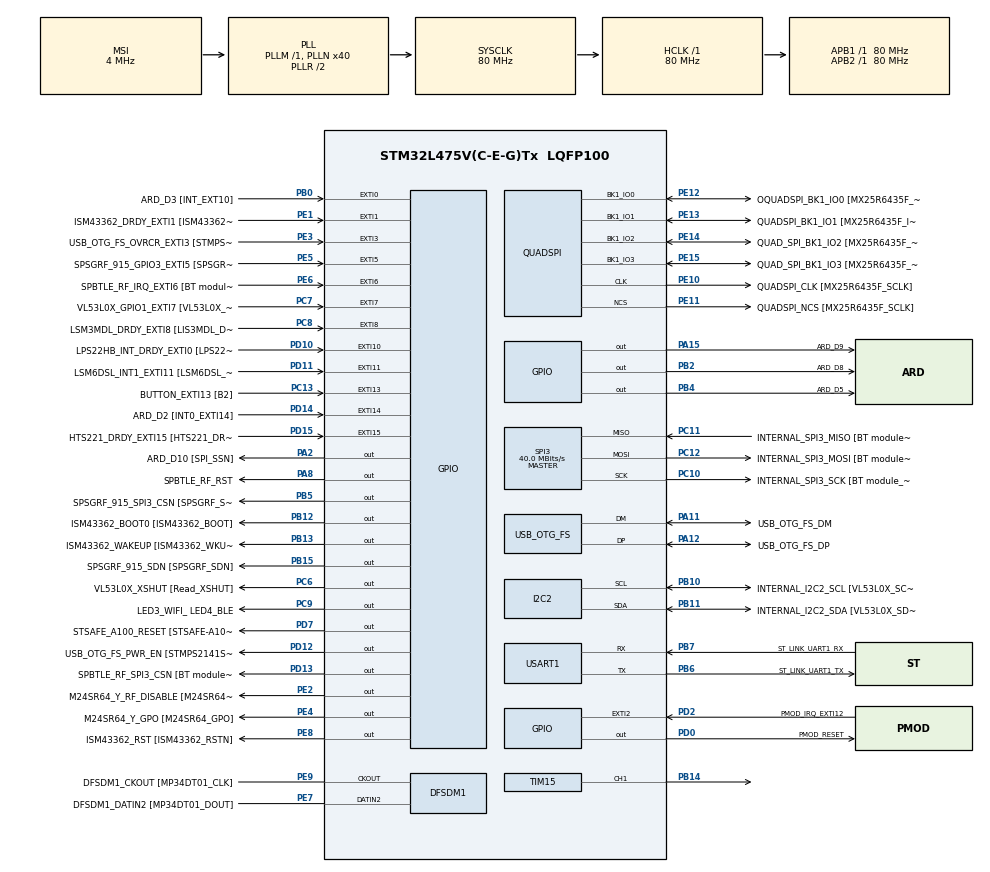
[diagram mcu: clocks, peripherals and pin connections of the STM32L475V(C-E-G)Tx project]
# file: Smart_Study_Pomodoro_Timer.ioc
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FREERTOS.Tasks01=defaultTask,24,128,StartDefaultTask,Default,NULL,Dynamic,NULL,NULL
Mcu.Family=STM32L4
Mcu.Name=STM32L475V(C-E-G)Tx
Mcu.Package=LQFP100
NVIC.EXTI15_10_IRQn=true\:5\:0\:false\:false\:true\:true\:true\:true\:true
NVIC.EXTI9_5_IRQn=true\:5\:0\:false\:false\:true\:true\:true\:true\:true
NVIC.PriorityGroup=NVIC_PRIORITYGROUP_4
NVIC.TIM6_DAC_IRQn=true\:15\:0\:false\:false\:true\:false\:false\:true\:true
NVIC.TimeBase=TIM6_DAC_IRQn
NVIC.TimeBaseIP=TIM6
PA0.GPIO_Label=ARD_D1 [UART4_TX]
PA0.Signal=UART4_TX
PA1.GPIO_Label=ARD_D0 [UART4_RX]
PA1.Signal=UART4_RX
PA10.GPIO_Label=USB_OTG_FS_ID
PA10.Signal=USB_OTG_FS_ID
PA11.GPIO_Label=USB_OTG_FS_DM
PA11.Mode=Device_Only
PA11.Signal=USB_OTG_FS_DM
PA12.GPIO_Label=USB_OTG_FS_DP
PA12.Mode=Device_Only
PA12.Signal=USB_OTG_FS_DP
PA13\ (JTMS-SWDIO).GPIO_Label=SYS_JTMS_SWDIO
PA13\ (JTMS-SWDIO).Mode=Trace_Asynchronous_SW
PA13\ (JTMS-SWDIO).Signal=SYS_JTMS-SWDIO
PA14\ (JTCK-SWCLK).GPIO_Label=SYS_JTCK_SWCLK
PA14\ (JTCK-SWCLK).Mode=Trace_Asynchronous_SW
PA14\ (JTCK-SWCLK).Signal=SYS_JTCK-SWCLK
PA15\ (JTDI).GPIO_Label=ARD_D9
PA15\ (JTDI).Signal=GPIO_Output
PA2.GPIO_Label=ARD_D10 [SPI_SSN]
PA2.Signal=GPIO_Output
PA3.GPIO_Label=ARD_D4
PA3.Signal=S_TIM2_CH4
PA4.GPIO_Label=ARD_D7
PA4.Signal=ADCx_IN9
PA5.GPIO_Label=ARD_D13 [SPI1_SCK]
PA5.Signal=SPI1_SCK
PA6.GPIO_Label=ARD_D12 [SPI1_MISO]
PA6.Signal=SPI1_MISO
PA7.GPIO_Label=ARD_D11 [SPI1_MOSI]
PA7.Signal=SPI1_MOSI
PA8.GPIO_Label=SPBTLE_RF_RST
PA8.Signal=GPIO_Output
PA9.GPIO_Label=USB_OTG_FS_VBUS [STMPS2141STR_OUT]
PA9.Signal=USB_OTG_FS_VBUS
PB0.GPIO_Label=ARD_D3 [INT_EXT10]
PB0.Signal=GPXTI0
PB1.GPIO_Label=ARD_D6 [ADC1_IN6]
PB1.Signal=ADCx_IN16
PB10.GPIO_Label=INTERNAL_I2C2_SCL [VL53L0X_SCL]
PB10.GPIO_Pu=GPIO_PULLUP
PB10.Mode=I2C
PB10.Signal=I2C2_SCL
PB11.GPIO_Label=INTERNAL_I2C2_SDA [VL53L0X_SDA]
PB11.GPIO_Pu=GPIO_PULLUP
PB11.Mode=I2C
PB11.Signal=I2C2_SDA
PB12.GPIO_Label=ISM43362_BOOT0 [ISM43362_BOOT]
PB12.Signal=GPIO_Output
PB13.GPIO_Label=ISM43362_WAKEUP [ISM43362_WKUP]
PB13.Signal=GPIO_Output
PB14.Signal=S_TIM15_CH1
PB15.GPIO_Label=SPSGRF_915_SDN [SPSGRF_SDN]
PB15.Signal=GPIO_Output
PB2.GPIO_Label=ARD_D8
PB2.Signal=GPIO_Output
PB3\ (JTDO-TRACESWO).GPIO_Label=SYS_JTD0_SWO
PB3\ (JTDO-TRACESWO).Mode=Trace_Asynchronous_SW
PB3\ (JTDO-TRACESWO).Signal=SYS_JTDO-SWO
PB4\ (NJTRST).GPIO_Label=ARD_D5
PB4\ (NJTRST).Signal=GPIO_Output
PB5.GPIO_Label=SPSGRF_915_SPI3_CSN [SPSGRF_SPI_CS]
PB5.PinState=GPIO_PIN_SET
PB5.Signal=GPIO_Output
PB6.GPIO_Label=ST_LINK_UART1_TX
PB6.Mode=Asynchronous
PB6.Signal=USART1_TX
PB7.GPIO_Label=ST_LINK_UART1_RX
PB7.Mode=Asynchronous
PB7.Signal=USART1_RX
PB8.GPIO_Label=ARD_D15 [I2C1_SCL]
PB8.Signal=I2C1_SCL
PB9.GPIO_Label=ARD_D14 [I2C1_SDA]
PB9.Signal=I2C1_SDA
PC0.GPIO_Label=ARD_A5 [ADC]
PC0.Signal=ADCx_IN1
PC1.GPIO_Label=ARD_A4 [ADC]
PC1.Signal=ADCx_IN2
PC10.GPIO_Label=INTERNAL_SPI3_SCK [BT module_SPI_SCLK] [ISM43362_SCK]
PC10.Mode=Full_Duplex_Master
PC10.Signal=SPI3_SCK
PC11.GPIO_Label=INTERNAL_SPI3_MISO [BT module_SPI_MISO] [ISM43362_MISO]
PC11.Mode=Full_Duplex_Master
PC11.Signal=SPI3_MISO
PC12.GPIO_Label=INTERNAL_SPI3_MOSI [BT module_SPI_MOSI] [ISM43362_MOSI]
PC12.Mode=Full_Duplex_Master
PC12.Signal=SPI3_MOSI
PC13.GPIO_Label=BUTTON_EXTI13 [B2]
PC13.GPIO_ModeDefaultEXTI=GPIO_MODE_IT_FALLING
PC13.Signal=GPXTI13
PC14-OSC32_IN\ (PC14).Mode=LSE-External-Oscillator
PC14-OSC32_IN\ (PC14).Signal=RCC_OSC32_IN
PC15-OSC32_OUT\ (PC15).Mode=LSE-External-Oscillator
PC15-OSC32_OUT\ (PC15).Signal=RCC_OSC32_OUT
PC2.GPIO_Label=ARD_A3 [ADC]
PC2.Signal=ADCx_IN3
PC3.GPIO_Label=ARD_A2 [ADC]
PC3.Signal=ADCx_IN4
PC4.GPIO_Label=ARD_A1 [ADC]
PC4.Signal=ADCx_IN13
PC5.GPIO_Label=ARD_A0 [ADC]
PC5.Signal=ADCx_IN14
PC6.GPIO_Label=VL53L0X_XSHUT [Read_XSHUT]
PC6.Signal=GPIO_Output
PC7.GPIO_Label=VL53L0X_GPIO1_EXTI7 [VL53L0X_GPIO1]
PC7.Signal=GPXTI7
PC8.GPIO_Label=LSM3MDL_DRDY_EXTI8 [LIS3MDL_DRDY]
PC8.Signal=GPXTI8
PC9.GPIO_Label=LED3_WIFI_ LED4_BLE
PC9.Signal=GPIO_Output
PD0.GPIO_Label=PMOD_RESET
PD0.Signal=GPIO_Output
PD1.GPIO_Label=PMOD_SPI2_SCK
PD1.Signal=SPI2_SCK
PD10.GPIO_Label=LPS22HB_INT_DRDY_EXTI0 [LPS22HB_INT_DRDY] 
PD10.Signal=GPXTI10
PD11.GPIO_Label=LSM6DSL_INT1_EXTI11 [LSM6DSL_INT1]
PD11.Signal=GPXTI11
PD12.GPIO_Label=USB_OTG_FS_PWR_EN [STMPS2141STR_EN]
PD12.Signal=GPIO_Output
PD13.GPIO_Label=SPBTLE_RF_SPI3_CSN [BT module_SPI_CS]
PD13.PinState=GPIO_PIN_SET
PD13.Signal=GPIO_Output
PD14.GPIO_Label=ARD_D2 [INT0_EXTI14]
PD14.Signal=GPXTI14
PD15.GPIO_Label=HTS221_DRDY_EXTI15 [HTS221_DRDY]
PD15.Signal=GPXTI15
PD2.GPIO_Label=PMOD_IRQ_EXTI12
PD2.Signal=GPXTI2
PD3.GPIO_Label=PMOD_UART2_CTS
PD3.Signal=USART2_CTS
PD4.GPIO_Label=PMOD_UART2_RTS
PD4.Signal=USART2_RTS
PD5.GPIO_Label=PMOD_UART2_TX
PD5.Signal=USART2_TX
PD6.GPIO_Label=PMOD_UART2_RX
PD6.Signal=USART2_RX
PD7.GPIO_Label=STSAFE_A100_RESET [STSAFE-A100_RESET]
PD7.Signal=GPIO_Output
PD8.GPIO_Label=INTERNAL_UART3_TX [ISM43362_RX]
PD8.Signal=USART3_TX
PD9.GPIO_Label=INTERNAL_UART3_RX [ISM43362_TX]
PD9.Signal=USART3_RX
PE0.Signal=S_TIM16_CH1
PE1.GPIO_Label=ISM43362_DRDY_EXTI1 [ISM43362_DATARDY]
PE1.Signal=GPXTI1
PE10.GPIO_Label=QUADSPI_CLK [MX25R6435F_SCLK]
PE10.Mode=Single Bank
PE10.Signal=QUADSPI_CLK
PE11.GPIO_Label=QUADSPI_NCS [MX25R6435F_SCLK]
PE11.Mode=Single Bank
PE11.Signal=QUADSPI_NCS
PE12.GPIO_Label=OQUADSPI_BK1_IO0 [MX25R6435F_IO0]
PE12.Mode=Single Bank
PE12.Signal=QUADSPI_BK1_IO0
PE13.GPIO_Label=QUADSPI_BK1_IO1 [MX25R6435F_IO1]
PE13.Mode=Single Bank
PE13.Signal=QUADSPI_BK1_IO1
PE14.GPIO_Label=QUAD_SPI_BK1_IO2 [MX25R6435F_IO2]
PE14.Mode=Single Bank
PE14.Signal=QUADSPI_BK1_IO2
PE15.GPIO_Label=QUAD_SPI_BK1_IO3 [MX25R6435F_IO3]
PE15.Mode=Single Bank
PE15.Signal=QUADSPI_BK1_IO3
PE2.GPIO_Label=M24SR64_Y_RF_DISABLE [M24SR64_RFDIS]
PE2.Signal=GPIO_Output
PE3.GPIO_Label=USB_OTG_FS_OVRCR_EXTI3 [STMPS2141STR_FAULT]
PE3.Signal=GPXTI3
PE4.GPIO_Label=M24SR64_Y_GPO [M24SR64_GPO]
PE4.Signal=GPIO_Output
PE5.GPIO_Label=SPSGRF_915_GPIO3_EXTI5 [SPSGRF_GPIO_3]
PE5.Signal=GPXTI5
PE6.GPIO_Label=SPBTLE_RF_IRQ_EXTI6 [BT module_SPI_IRQ]
PE6.Signal=GPXTI6
PE7.GPIO_Label=DFSDM1_DATIN2 [MP34DT01_DOUT]
PE7.Signal=S_DATAIN2DFSDM1
PE8.GPIO_Label=ISM43362_RST [ISM43362_RSTN]
PE8.Signal=GPIO_Output
PE9.GPIO_Label=DFSDM1_CKOUT [MP34DT01_CLK]
PE9.Signal=S_CKOUTDFSDM1
ProjectManager.HeapSize=0x200
ProjectManager.StackSize=0x400
ProjectManager.TargetToolchain=STM32CubeIDE
QUADSPI.ClockPrescaler=2
QUADSPI.FifoThreshold=4
QUADSPI.FlashSize=23
QUADSPI.SampleShifting=QSPI_SAMPLE_SHIFTING_HALFCYCLE
RCC.ADCFreq_Value=48000000
RCC.AHBFreq_Value=80000000
RCC.APB1Freq_Value=80000000
RCC.APB1TimFreq_Value=80000000
RCC.APB2Freq_Value=80000000
RCC.APB2TimFreq_Value=80000000
RCC.CortexFreq_Value=80000000
RCC.HCLKFreq_Value=80000000
RCC.HSE_VALUE=8000000
RCC.HSI_VALUE=16000000
RCC.MSI_VALUE=4000000
RCC.PLLN=40
RCC.PLLSAI1N=24
RCC.SYSCLKFreq_VALUE=80000000
RCC.SYSCLKSource=RCC_SYSCLKSOURCE_PLLCLK
RCC.USBFreq_Value=48000000
RCC.VCOOutputFreq_Value=160000000
SH.ADCx_IN1.0=ADC1_IN1
SH.ADCx_IN13.0=ADC1_IN13
SH.ADCx_IN14.0=ADC1_IN14
SH.ADCx_IN16.0=ADC1_IN16
SH.ADCx_IN2.0=ADC1_IN2
SH.ADCx_IN3.0=ADC1_IN3
SH.ADCx_IN4.0=ADC1_IN4
SH.ADCx_IN9.0=ADC1_IN9
SH.S_CKOUTDFSDM1.0=DFSDM1_CKOUT,CKOUT
SH.S_CKOUTDFSDM1.1=DFSDM1_CKOUT,PDM_SPI_Input_from_ch12_and_Internal_Clock
SH.S_DATAIN2DFSDM1.0=DFSDM1_DATIN2,PDM_SPI_Input_from_ch12_and_Internal_Clock
SH.S_TIM15_CH1.0=TIM15_CH1,PWM Generation1 CH1
SH.S_TIM16_CH1.0=TIM16_CH1
SH.S_TIM2_CH4.0=TIM2_CH4
SPI3.CalculateBaudRate=40.0 MBits/s
SPI3.Direction=SPI_DIRECTION_2LINES
SPI3.Mode=SPI_MODE_MASTER
SPI3.VirtualType=VM_MASTER
TIM15.Channel-PWM\ Generation1\ CH1=TIM_CHANNEL_1
USART1.VirtualMode-Asynchronous=VM_ASYNC
USB_OTG_FS.VirtualMode=Device_Only
VP_FREERTOS_VS_CMSIS_V2.Mode=CMSIS_V2
VP_SYS_VS_tim6.Mode=TIM6
board=B-L475E-IOT01A1

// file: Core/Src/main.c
/* USER CODE BEGIN Header */
/**
  ******************************************************************************
  * @file           : main.c
  * @brief          : Main program body
  ******************************************************************************
  * @attention
  *
  * Copyright (c) 2026 STMicroelectronics.
  * All rights reserved.
  *
  * This software is licensed under terms that can be found in the LICENSE file
  * in the root directory of this software component.
  * If no LICENSE file comes with this software, it is provided AS-IS.
  *
  ******************************************************************************
  */
/* USER CODE END Header */
#include "main.h"
//#include "cmsis_os.h"

/* USER CODE BEGIN Includes */
#include "FreeRTOS.h"
#include "task.h"
#include "timers.h"
#include "queue.h"
#include "semphr.h"
#include "event_groups.h"
#include <stdio.h>
#include <string.h>

#include "wifi.h"//leaadd
#include "es_wifi_io.h"
/* USER CODE END Includes */

/* USER CODE BEGIN PTD */
typedef enum{
	IDLE, STUDYING, PAUSE, BREAK, FOCUS_REMINDER
} StateMachineState;

typedef enum { //leaadd
    EVT_PHONE_PLACED,     // sensor: phone is on the board
    EVT_PHONE_REMOVED,    // sensor: phone was picked up
    EVT_CHEAT_DETECTED,   // sensor: non-phone object on the board
 //   EVT_CMD_START,        // phone command
 //   EVT_CMD_PAUSE,
 //   EVT_CMD_RESUME,
  //  EVT_CMD_RESET,
    EVT_CMD_SET_TIME      // phone command: set study/break time (for later)
} EventType;

typedef struct {//leaadd
    EventType type;
    uint16_t  value1;     // e.g. study minutes
    uint16_t  value2;     // e.g. break minutes
} Event;

/* USER CODE END PTD */

/* USER CODE BEGIN PD */
#define SHORT_PRESS_FLAG  (1UL << 1)
#define LONG_PRESS_FLAG   (1UL << 2)
#define LONG_PRESS_MS  1000

//#define STUDY_TIME (0.5 * 60 * 1000)
#define DEFAULT_STUDY_TIME_MS  (30 * 1000)   // default 30 s for testing
#define STUDY_TIMER_FLAG (1UL << 3)

//#define BREAK_TIME (0.5 * 60 * 1000)
#define DEFAULT_BREAK_TIME_MS  (30 * 1000)   // default 30 s for testing
#define BREAK_TIMER_FLAG (1UL << 4)

#define PWM_MAX_DUTY       65535
#define PWM_UPDATE_MS      100
#define BLINK_INTERVAL_MS  100

#define PHONE_PLACED_FLAG   (1UL << 5)//leaadd
#define PHONE_REMOVED_FLAG  (1UL << 6)
#define CHEAT_FLAG          (1UL << 7)
#define EVENT_QUEUE_LENGTH  10
/* Update SSID and PASSWORD with own Access point settings */
#define WIFI_SSID     "iPhone"
#define WIFI_PASSWORD "handsome"

#define REMOTE_PORT          8002
#define WIFI_WRITE_TIMEOUT   10000   // ms
#define WIFI_READ_TIMEOUT    1000    // ms, shorter than lab 5 (10 s)
/* USER CODE END PD */

DFSDM_Channel_HandleTypeDef hdfsdm1_channel1;

I2C_HandleTypeDef hi2c2;

QSPI_HandleTypeDef hqspi;

SPI_HandleTypeDef hspi3;

TIM_HandleTypeDef htim15;

UART_HandleTypeDef huart1;

PCD_HandleTypeDef hpcd_USB_OTG_FS;

/* Definitions for defaultTask */
//osThreadId_t defaultTaskHandle;
//const osThreadAttr_t defaultTask_attributes = {
//  .name = "defaultTask",
//  .stack_size = 128 * 4,
//  .priority = (osPriority_t) osPriorityNormal,
//};
/* USER CODE BEGIN PV */
TaskHandle_t xButtonTaskHandle = NULL;
TaskHandle_t xStateTaskHandle = NULL;
TimerHandle_t xStudyTimer = NULL;
TimerHandle_t xBreakTimer = NULL;
SemaphoreHandle_t xStatusMutex = NULL;
TaskHandle_t xWiFiTaskHandle = NULL;//leaadd
// shared status variables
StateMachineState currentState = IDLE;
TickType_t remainingStudyTime = 0;

QueueHandle_t xEventQueue = NULL; //leaadd
uint32_t studyTimeMs = DEFAULT_STUDY_TIME_MS;   // can be changed by SET_TIME
uint32_t breakTimeMs = DEFAULT_BREAK_TIME_MS;   // can be changed by SET_TIME
uint8_t RemoteIP[] = {172, 20, 10, 1};   // phone hotspot IP
int32_t wifiSocket = -1;                 // -1 = not connected yet
/* USER CODE END PV */

void SystemClock_Config(void);
static void MX_GPIO_Init(void);
static void MX_DFSDM1_Init(void);
static void MX_I2C2_Init(void);
static void MX_QUADSPI_Init(void);
static void MX_SPI3_Init(void);
static void MX_USART1_UART_Init(void);
static void MX_USB_OTG_FS_PCD_Init(void);
static void MX_TIM15_Init(void);
//void StartDefaultTask(void *argument);

/* USER CODE BEGIN PFP */
void ButtonTask(void *pvParameters);
void StateMachineTask(void *pvParameters);
void UpdateLED(StateMachineState state);
void StudyTimerCallback(TimerHandle_t xTimer);
void BreakTimerCallback(TimerHandle_t xTimer);
//void ProcessEvent(uint32_t event);//leaadd
uint32_t EventToFlag(Event *evt);//leaadd
void HandleSetTime(Event *evt);//leaadd
void WiFiTask(void *pvParameters);//leaadd
void HandlePhoneCommand(char *cmd, char *reply, size_t replyLen);//leaadd
const char *StateName(StateMachineState s);//leaadd
/* USER CODE END PFP */

/* USER CODE BEGIN 0 */
int _write(int file, char *ptr, int len) {
	for (int i = 0; i < len; i++) {
		ITM_SendChar((*ptr++));
	}
	return len;
}
/* USER CODE END 0 */

int main(void)
{

  /* MCU Configuration--------------------------------------------------------*/

  /* Reset of all peripherals, Initializes the Flash interface and the Systick. */
  HAL_Init();

  /* Configure the system clock */
  SystemClock_Config();

  /* Initialize all configured peripherals */
  MX_GPIO_Init();
  MX_DFSDM1_Init();
  MX_I2C2_Init();
  MX_QUADSPI_Init();
  MX_SPI3_Init();
  MX_USART1_UART_Init();
  MX_USB_OTG_FS_PCD_Init();
  MX_TIM15_Init();
  /* USER CODE BEGIN 2 */
  HAL_TIM_PWM_Start(&htim15, TIM_CHANNEL_1);
  __HAL_TIM_SET_COMPARE(&htim15, TIM_CHANNEL_1, 0);
  /* TEST: connect to Wi-Fi before starting the scheduler */
  //leaadd
  /*
  printf("Wi-Fi init...\r\n");
  if (WIFI_Init() == WIFI_STATUS_OK) {
      printf("Wi-Fi module initialized\r\n");
      if (WIFI_Connect(WIFI_SSID, WIFI_PASSWORD, WIFI_ECN_WPA2_PSK) == WIFI_STATUS_OK) {
          uint8_t ip[4];
          WIFI_GetIP_Address(ip, sizeof(ip));
          printf("Wi-Fi connected, IP: %d.%d.%d.%d\r\n", ip[0], ip[1], ip[2], ip[3]);
      } else {
          printf("Wi-Fi connect FAILED\r\n");
      }
  } else {
      printf("Wi-Fi init FAILED\r\n");
  }
  */
  /* USER CODE END 2 */

  /* Init scheduler */
//  osKernelInitialize();

  /* USER CODE BEGIN RTOS_MUTEX */
  xStatusMutex = xSemaphoreCreateMutex();
  if (xStatusMutex == NULL)
	  ; //add code to handle error
  /* USER CODE END RTOS_MUTEX */

  /* USER CODE BEGIN RTOS_TIMERS */
  xStudyTimer = xTimerCreate("Study Timer", pdMS_TO_TICKS(studyTimeMs), pdFALSE, NULL, StudyTimerCallback);
  xBreakTimer = xTimerCreate("Break Timer", pdMS_TO_TICKS(breakTimeMs), pdFALSE, NULL, BreakTimerCallback);
  /* USER CODE END RTOS_TIMERS */

  /* USER CODE BEGIN RTOS_QUEUES */
  xEventQueue = xQueueCreate(EVENT_QUEUE_LENGTH, sizeof(Event));//leaadd
  if (xEventQueue == NULL)
      ; // add code to handle error
  /* USER CODE END RTOS_QUEUES */

  /* Create the thread(s) */
  /* creation of defaultTask */
//  defaultTaskHandle = osThreadNew(StartDefaultTask, NULL, &defaultTask_attributes);

  /* USER CODE BEGIN RTOS_THREADS */
  BaseType_t xReturned = xTaskCreate(ButtonTask, "Button Task New", 256,
  NULL, 1, &xButtonTaskHandle);
  if (xReturned != pdPASS)
  ; //add code to handle error

  xReturned = xTaskCreate(StateMachineTask, "State Machine Task", 256,
  NULL, 1, &xStateTaskHandle);
  if (xReturned != pdPASS)
  ; //add code to handle error
  xReturned = xTaskCreate(WiFiTask, "WiFi Task", 512, NULL, 1, &xWiFiTaskHandle);
  if (xReturned != pdPASS)
	  printf("WiFi task create FAILED, free heap = %u bytes\r\n", (unsigned)xPortGetFreeHeapSize());
      ; // add code to handle error

  vTaskStartScheduler(); // start scheduler
  /* USER CODE END RTOS_THREADS */

  /* Start scheduler */
//  osKernelStart();

  /* We should never get here as control is now taken by the scheduler */

  /* Infinite loop */
  while (1)
  {

  }
}

void SystemClock_Config(void)
{
  RCC_OscInitTypeDef RCC_OscInitStruct = {0};
  RCC_ClkInitTypeDef RCC_ClkInitStruct = {0};

  /** Configure the main internal regulator output voltage
  */
  if (HAL_PWREx_ControlVoltageScaling(PWR_REGULATOR_VOLTAGE_SCALE1) != HAL_OK)
  {
    Error_Handler();
  }

  /** Configure LSE Drive Capability
  */
  HAL_PWR_EnableBkUpAccess();
  __HAL_RCC_LSEDRIVE_CONFIG(RCC_LSEDRIVE_LOW);

  /** Initializes the RCC Oscillators according to the specified parameters
  * in the RCC_OscInitTypeDef structure.
  */
  RCC_OscInitStruct.OscillatorType = RCC_OSCILLATORTYPE_LSE|RCC_OSCILLATORTYPE_MSI;
  RCC_OscInitStruct.LSEState = RCC_LSE_ON;
  RCC_OscInitStruct.MSIState = RCC_MSI_ON;
  RCC_OscInitStruct.MSICalibrationValue = 0;
  RCC_OscInitStruct.MSIClockRange = RCC_MSIRANGE_6;
  RCC_OscInitStruct.PLL.PLLState = RCC_PLL_ON;
  RCC_OscInitStruct.PLL.PLLSource = RCC_PLLSOURCE_MSI;
  RCC_OscInitStruct.PLL.PLLM = 1;
  RCC_OscInitStruct.PLL.PLLN = 40;
  RCC_OscInitStruct.PLL.PLLP = RCC_PLLP_DIV7;
  RCC_OscInitStruct.PLL.PLLQ = RCC_PLLQ_DIV2;
  RCC_OscInitStruct.PLL.PLLR = RCC_PLLR_DIV2;
  if (HAL_RCC_OscConfig(&RCC_OscInitStruct) != HAL_OK)
  {
    Error_Handler();
  }

  /** Initializes the CPU, AHB and APB buses clocks
  */
  RCC_ClkInitStruct.ClockType = RCC_CLOCKTYPE_HCLK|RCC_CLOCKTYPE_SYSCLK
                              |RCC_CLOCKTYPE_PCLK1|RCC_CLOCKTYPE_PCLK2;
  RCC_ClkInitStruct.SYSCLKSource = RCC_SYSCLKSOURCE_PLLCLK;
  RCC_ClkInitStruct.AHBCLKDivider = RCC_SYSCLK_DIV1;
  RCC_ClkInitStruct.APB1CLKDivider = RCC_HCLK_DIV1;
  RCC_ClkInitStruct.APB2CLKDivider = RCC_HCLK_DIV1;

  if (HAL_RCC_ClockConfig(&RCC_ClkInitStruct, FLASH_LATENCY_4) != HAL_OK)
  {
    Error_Handler();
  }

  /** Enable MSI Auto calibration
  */
  HAL_RCCEx_EnableMSIPLLMode();
}

static void MX_DFSDM1_Init(void)
{

  hdfsdm1_channel1.Instance = DFSDM1_Channel1;
  hdfsdm1_channel1.Init.OutputClock.Activation = ENABLE;
  hdfsdm1_channel1.Init.OutputClock.Selection = DFSDM_CHANNEL_OUTPUT_CLOCK_SYSTEM;
  hdfsdm1_channel1.Init.OutputClock.Divider = 2;
  hdfsdm1_channel1.Init.Input.Multiplexer = DFSDM_CHANNEL_EXTERNAL_INPUTS;
  hdfsdm1_channel1.Init.Input.DataPacking = DFSDM_CHANNEL_STANDARD_MODE;
  hdfsdm1_channel1.Init.Input.Pins = DFSDM_CHANNEL_FOLLOWING_CHANNEL_PINS;
  hdfsdm1_channel1.Init.SerialInterface.Type = DFSDM_CHANNEL_SPI_RISING;
  hdfsdm1_channel1.Init.SerialInterface.SpiClock = DFSDM_CHANNEL_SPI_CLOCK_INTERNAL;
  hdfsdm1_channel1.Init.Awd.FilterOrder = DFSDM_CHANNEL_FASTSINC_ORDER;
  hdfsdm1_channel1.Init.Awd.Oversampling = 1;
  hdfsdm1_channel1.Init.Offset = 0;
  hdfsdm1_channel1.Init.RightBitShift = 0x00;
  if (HAL_DFSDM_ChannelInit(&hdfsdm1_channel1) != HAL_OK)
  {
    Error_Handler();
  }

}

static void MX_I2C2_Init(void)
{

  hi2c2.Instance = I2C2;
  hi2c2.Init.Timing = 0x00000E14;
  hi2c2.Init.OwnAddress1 = 0;
  hi2c2.Init.AddressingMode = I2C_ADDRESSINGMODE_7BIT;
  hi2c2.Init.DualAddressMode = I2C_DUALADDRESS_DISABLE;
  hi2c2.Init.OwnAddress2 = 0;
  hi2c2.Init.OwnAddress2Masks = I2C_OA2_NOMASK;
  hi2c2.Init.GeneralCallMode = I2C_GENERALCALL_DISABLE;
  hi2c2.Init.NoStretchMode = I2C_NOSTRETCH_DISABLE;
  if (HAL_I2C_Init(&hi2c2) != HAL_OK)
  {
    Error_Handler();
  }

  /** Configure Analogue filter
  */
  if (HAL_I2CEx_ConfigAnalogFilter(&hi2c2, I2C_ANALOGFILTER_ENABLE) != HAL_OK)
  {
    Error_Handler();
  }

  /** Configure Digital filter
  */
  if (HAL_I2CEx_ConfigDigitalFilter(&hi2c2, 0) != HAL_OK)
  {
    Error_Handler();
  }

}

static void MX_QUADSPI_Init(void)
{

  /* QUADSPI parameter configuration*/
  hqspi.Instance = QUADSPI;
  hqspi.Init.ClockPrescaler = 2;
  hqspi.Init.FifoThreshold = 4;
  hqspi.Init.SampleShifting = QSPI_SAMPLE_SHIFTING_HALFCYCLE;
  hqspi.Init.FlashSize = 23;
  hqspi.Init.ChipSelectHighTime = QSPI_CS_HIGH_TIME_1_CYCLE;
  hqspi.Init.ClockMode = QSPI_CLOCK_MODE_0;
  if (HAL_QSPI_Init(&hqspi) != HAL_OK)
  {
    Error_Handler();
  }

}

static void MX_SPI3_Init(void)
{

  /* SPI3 parameter configuration*/
  hspi3.Instance = SPI3;
  hspi3.Init.Mode = SPI_MODE_MASTER;
  hspi3.Init.Direction = SPI_DIRECTION_2LINES;
  hspi3.Init.DataSize = SPI_DATASIZE_4BIT;
  hspi3.Init.CLKPolarity = SPI_POLARITY_LOW;
  hspi3.Init.CLKPhase = SPI_PHASE_1EDGE;
  hspi3.Init.NSS = SPI_NSS_SOFT;
  hspi3.Init.BaudRatePrescaler = SPI_BAUDRATEPRESCALER_2;
  hspi3.Init.FirstBit = SPI_FIRSTBIT_MSB;
  hspi3.Init.TIMode = SPI_TIMODE_DISABLE;
  hspi3.Init.CRCCalculation = SPI_CRCCALCULATION_DISABLE;
  hspi3.Init.CRCPolynomial = 7;
  hspi3.Init.CRCLength = SPI_CRC_LENGTH_DATASIZE;
  hspi3.Init.NSSPMode = SPI_NSS_PULSE_ENABLE;
  if (HAL_SPI_Init(&hspi3) != HAL_OK)
  {
    Error_Handler();
  }

}

static void MX_TIM15_Init(void)
{

  TIM_MasterConfigTypeDef sMasterConfig = {0};
  TIM_OC_InitTypeDef sConfigOC = {0};
  TIM_BreakDeadTimeConfigTypeDef sBreakDeadTimeConfig = {0};

  htim15.Instance = TIM15;
  htim15.Init.Prescaler = 0;
  htim15.Init.CounterMode = TIM_COUNTERMODE_UP;
  htim15.Init.Period = 65535;
  htim15.Init.ClockDivision = TIM_CLOCKDIVISION_DIV1;
  htim15.Init.RepetitionCounter = 0;
  htim15.Init.AutoReloadPreload = TIM_AUTORELOAD_PRELOAD_DISABLE;
  if (HAL_TIM_PWM_Init(&htim15) != HAL_OK)
  {
    Error_Handler();
  }
  sMasterConfig.MasterOutputTrigger = TIM_TRGO_RESET;
  sMasterConfig.MasterSlaveMode = TIM_MASTERSLAVEMODE_DISABLE;
  if (HAL_TIMEx_MasterConfigSynchronization(&htim15, &sMasterConfig) != HAL_OK)
  {
    Error_Handler();
  }
  sConfigOC.OCMode = TIM_OCMODE_PWM1;
  sConfigOC.Pulse = 0;
  sConfigOC.OCPolarity = TIM_OCPOLARITY_HIGH;
  sConfigOC.OCNPolarity = TIM_OCNPOLARITY_HIGH;
  sConfigOC.OCFastMode = TIM_OCFAST_DISABLE;
  sConfigOC.OCIdleState = TIM_OCIDLESTATE_RESET;
  sConfigOC.OCNIdleState = TIM_OCNIDLESTATE_RESET;
  if (HAL_TIM_PWM_ConfigChannel(&htim15, &sConfigOC, TIM_CHANNEL_1) != HAL_OK)
  {
    Error_Handler();
  }
  sBreakDeadTimeConfig.OffStateRunMode = TIM_OSSR_DISABLE;
  sBreakDeadTimeConfig.OffStateIDLEMode = TIM_OSSI_DISABLE;
  sBreakDeadTimeConfig.LockLevel = TIM_LOCKLEVEL_OFF;
  sBreakDeadTimeConfig.DeadTime = 0;
  sBreakDeadTimeConfig.BreakState = TIM_BREAK_DISABLE;
  sBreakDeadTimeConfig.BreakPolarity = TIM_BREAKPOLARITY_HIGH;
  sBreakDeadTimeConfig.AutomaticOutput = TIM_AUTOMATICOUTPUT_DISABLE;
  if (HAL_TIMEx_ConfigBreakDeadTime(&htim15, &sBreakDeadTimeConfig) != HAL_OK)
  {
    Error_Handler();
  }
  HAL_TIM_MspPostInit(&htim15);

}

static void MX_USART1_UART_Init(void)
{

  huart1.Instance = USART1;
  huart1.Init.BaudRate = 115200;
  huart1.Init.WordLength = UART_WORDLENGTH_8B;
  huart1.Init.StopBits = UART_STOPBITS_1;
  huart1.Init.Parity = UART_PARITY_NONE;
  huart1.Init.Mode = UART_MODE_TX_RX;
  huart1.Init.HwFlowCtl = UART_HWCONTROL_NONE;
  huart1.Init.OverSampling = UART_OVERSAMPLING_16;
  huart1.Init.OneBitSampling = UART_ONE_BIT_SAMPLE_DISABLE;
  huart1.AdvancedInit.AdvFeatureInit = UART_ADVFEATURE_NO_INIT;
  if (HAL_UART_Init(&huart1) != HAL_OK)
  {
    Error_Handler();
  }

}

static void MX_USB_OTG_FS_PCD_Init(void)
{

  hpcd_USB_OTG_FS.Instance = USB_OTG_FS;
  hpcd_USB_OTG_FS.Init.dev_endpoints = 6;
  hpcd_USB_OTG_FS.Init.speed = PCD_SPEED_FULL;
  hpcd_USB_OTG_FS.Init.phy_itface = PCD_PHY_EMBEDDED;
  hpcd_USB_OTG_FS.Init.Sof_enable = DISABLE;
  hpcd_USB_OTG_FS.Init.low_power_enable = DISABLE;
  hpcd_USB_OTG_FS.Init.lpm_enable = DISABLE;
  hpcd_USB_OTG_FS.Init.battery_charging_enable = DISABLE;
  hpcd_USB_OTG_FS.Init.use_dedicated_ep1 = DISABLE;
  hpcd_USB_OTG_FS.Init.vbus_sensing_enable = DISABLE;
  if (HAL_PCD_Init(&hpcd_USB_OTG_FS) != HAL_OK)
  {
    Error_Handler();
  }

}

static void MX_GPIO_Init(void)
{
  GPIO_InitTypeDef GPIO_InitStruct = {0};

  /* GPIO Ports Clock Enable */
  __HAL_RCC_GPIOE_CLK_ENABLE();
  __HAL_RCC_GPIOC_CLK_ENABLE();
  __HAL_RCC_GPIOA_CLK_ENABLE();
  __HAL_RCC_GPIOB_CLK_ENABLE();
  __HAL_RCC_GPIOD_CLK_ENABLE();

  /*Configure GPIO pin Output Level */
  HAL_GPIO_WritePin(GPIOE, M24SR64_Y_RF_DISABLE_Pin|M24SR64_Y_GPO_Pin|ISM43362_RST_Pin, GPIO_PIN_RESET);

  /*Configure GPIO pin Output Level */
  HAL_GPIO_WritePin(GPIOA, ARD_D10_Pin|SPBTLE_RF_RST_Pin|ARD_D9_Pin, GPIO_PIN_RESET);

  /*Configure GPIO pin Output Level */
  HAL_GPIO_WritePin(GPIOB, ARD_D8_Pin|ISM43362_BOOT0_Pin|ISM43362_WAKEUP_Pin|SPSGRF_915_SDN_Pin
                          |ARD_D5_Pin, GPIO_PIN_RESET);

  /*Configure GPIO pin Output Level */
  HAL_GPIO_WritePin(GPIOD, USB_OTG_FS_PWR_EN_Pin|PMOD_RESET_Pin|STSAFE_A100_RESET_Pin, GPIO_PIN_RESET);

  /*Configure GPIO pin Output Level */
  HAL_GPIO_WritePin(SPBTLE_RF_SPI3_CSN_GPIO_Port, SPBTLE_RF_SPI3_CSN_Pin, GPIO_PIN_SET);

  /*Configure GPIO pin Output Level */
  HAL_GPIO_WritePin(GPIOC, VL53L0X_XSHUT_Pin|LED3_WIFI__LED4_BLE_Pin, GPIO_PIN_RESET);

  /*Configure GPIO pin Output Level */
  HAL_GPIO_WritePin(SPSGRF_915_SPI3_CSN_GPIO_Port, SPSGRF_915_SPI3_CSN_Pin, GPIO_PIN_SET);

  /*Configure GPIO pins : M24SR64_Y_RF_DISABLE_Pin M24SR64_Y_GPO_Pin ISM43362_RST_Pin */
  GPIO_InitStruct.Pin = M24SR64_Y_RF_DISABLE_Pin|M24SR64_Y_GPO_Pin|ISM43362_RST_Pin;
  GPIO_InitStruct.Mode = GPIO_MODE_OUTPUT_PP;
  GPIO_InitStruct.Pull = GPIO_NOPULL;
  GPIO_InitStruct.Speed = GPIO_SPEED_FREQ_LOW;
  HAL_GPIO_Init(GPIOE, &GPIO_InitStruct);

  /*Configure GPIO pins : USB_OTG_FS_OVRCR_EXTI3_Pin SPSGRF_915_GPIO3_EXTI5_Pin SPBTLE_RF_IRQ_EXTI6_Pin ISM43362_DRDY_EXTI1_Pin */
  GPIO_InitStruct.Pin = USB_OTG_FS_OVRCR_EXTI3_Pin|SPSGRF_915_GPIO3_EXTI5_Pin|SPBTLE_RF_IRQ_EXTI6_Pin|ISM43362_DRDY_EXTI1_Pin;
  GPIO_InitStruct.Mode = GPIO_MODE_IT_RISING;
  GPIO_InitStruct.Pull = GPIO_NOPULL;
  HAL_GPIO_Init(GPIOE, &GPIO_InitStruct);

  /*Configure GPIO pin : BUTTON_EXTI13_Pin */
  GPIO_InitStruct.Pin = BUTTON_EXTI13_Pin;
  GPIO_InitStruct.Mode = GPIO_MODE_IT_FALLING;
  GPIO_InitStruct.Pull = GPIO_NOPULL;
  HAL_GPIO_Init(BUTTON_EXTI13_GPIO_Port, &GPIO_InitStruct);

  /*Configure GPIO pins : ARD_A5_Pin ARD_A4_Pin ARD_A3_Pin ARD_A2_Pin
                           ARD_A1_Pin ARD_A0_Pin */
  GPIO_InitStruct.Pin = ARD_A5_Pin|ARD_A4_Pin|ARD_A3_Pin|ARD_A2_Pin
                          |ARD_A1_Pin|ARD_A0_Pin;
  GPIO_InitStruct.Mode = GPIO_MODE_ANALOG_ADC_CONTROL;
  GPIO_InitStruct.Pull = GPIO_NOPULL;
  HAL_GPIO_Init(GPIOC, &GPIO_InitStruct);

  /*Configure GPIO pins : ARD_D1_Pin ARD_D0_Pin */
  GPIO_InitStruct.Pin = ARD_D1_Pin|ARD_D0_Pin;
  GPIO_InitStruct.Mode = GPIO_MODE_AF_PP;
  GPIO_InitStruct.Pull = GPIO_NOPULL;
  GPIO_InitStruct.Speed = GPIO_SPEED_FREQ_VERY_HIGH;
  GPIO_InitStruct.Alternate = GPIO_AF8_UART4;
  HAL_GPIO_Init(GPIOA, &GPIO_InitStruct);

  /*Configure GPIO pins : ARD_D10_Pin SPBTLE_RF_RST_Pin ARD_D9_Pin */
  GPIO_InitStruct.Pin = ARD_D10_Pin|SPBTLE_RF_RST_Pin|ARD_D9_Pin;
  GPIO_InitStruct.Mode = GPIO_MODE_OUTPUT_PP;
  GPIO_InitStruct.Pull = GPIO_NOPULL;
  GPIO_InitStruct.Speed = GPIO_SPEED_FREQ_LOW;
  HAL_GPIO_Init(GPIOA, &GPIO_InitStruct);

  /*Configure GPIO pin : ARD_D4_Pin */
  GPIO_InitStruct.Pin = ARD_D4_Pin;
  GPIO_InitStruct.Mode = GPIO_MODE_AF_PP;
  GPIO_InitStruct.Pull = GPIO_NOPULL;
  GPIO_InitStruct.Speed = GPIO_SPEED_FREQ_LOW;
  GPIO_InitStruct.Alternate = GPIO_AF1_TIM2;
  HAL_GPIO_Init(ARD_D4_GPIO_Port, &GPIO_InitStruct);

  /*Configure GPIO pin : ARD_D7_Pin */
  GPIO_InitStruct.Pin = ARD_D7_Pin;
  GPIO_InitStruct.Mode = GPIO_MODE_ANALOG_ADC_CONTROL;
  GPIO_InitStruct.Pull = GPIO_NOPULL;
  HAL_GPIO_Init(ARD_D7_GPIO_Port, &GPIO_InitStruct);

  /*Configure GPIO pins : ARD_D13_Pin ARD_D12_Pin ARD_D11_Pin */
  GPIO_InitStruct.Pin = ARD_D13_Pin|ARD_D12_Pin|ARD_D11_Pin;
  GPIO_InitStruct.Mode = GPIO_MODE_AF_PP;
  GPIO_InitStruct.Pull = GPIO_NOPULL;
  GPIO_InitStruct.Speed = GPIO_SPEED_FREQ_VERY_HIGH;
  GPIO_InitStruct.Alternate = GPIO_AF5_SPI1;
  HAL_GPIO_Init(GPIOA, &GPIO_InitStruct);

  /*Configure GPIO pin : ARD_D3_Pin */
  GPIO_InitStruct.Pin = ARD_D3_Pin;
  GPIO_InitStruct.Mode = GPIO_MODE_IT_RISING;
  GPIO_InitStruct.Pull = GPIO_NOPULL;
  HAL_GPIO_Init(ARD_D3_GPIO_Port, &GPIO_InitStruct);

  /*Configure GPIO pin : ARD_D6_Pin */
  GPIO_InitStruct.Pin = ARD_D6_Pin;
  GPIO_InitStruct.Mode = GPIO_MODE_ANALOG_ADC_CONTROL;
  GPIO_InitStruct.Pull = GPIO_NOPULL;
  HAL_GPIO_Init(ARD_D6_GPIO_Port, &GPIO_InitStruct);

  /*Configure GPIO pins : ARD_D8_Pin ISM43362_BOOT0_Pin ISM43362_WAKEUP_Pin SPSGRF_915_SDN_Pin
                           ARD_D5_Pin SPSGRF_915_SPI3_CSN_Pin */
  GPIO_InitStruct.Pin = ARD_D8_Pin|ISM43362_BOOT0_Pin|ISM43362_WAKEUP_Pin|SPSGRF_915_SDN_Pin
                          |ARD_D5_Pin|SPSGRF_915_SPI3_CSN_Pin;
  GPIO_InitStruct.Mode = GPIO_MODE_OUTPUT_PP;
  GPIO_InitStruct.Pull = GPIO_NOPULL;
  GPIO_InitStruct.Speed = GPIO_SPEED_FREQ_LOW;
  HAL_GPIO_Init(GPIOB, &GPIO_InitStruct);

  /*Configure GPIO pins : INTERNAL_UART3_TX_Pin INTERNAL_UART3_RX_Pin */
  GPIO_InitStruct.Pin = INTERNAL_UART3_TX_Pin|INTERNAL_UART3_RX_Pin;
  GPIO_InitStruct.Mode = GPIO_MODE_AF_PP;
  GPIO_InitStruct.Pull = GPIO_NOPULL;
  GPIO_InitStruct.Speed = GPIO_SPEED_FREQ_VERY_HIGH;
  GPIO_InitStruct.Alternate = GPIO_AF7_USART3;
  HAL_GPIO_Init(GPIOD, &GPIO_InitStruct);

  /*Configure GPIO pins : LPS22HB_INT_DRDY_EXTI0_Pin LSM6DSL_INT1_EXTI11_Pin ARD_D2_Pin HTS221_DRDY_EXTI15_Pin
                           PMOD_IRQ_EXTI12_Pin */
  GPIO_InitStruct.Pin = LPS22HB_INT_DRDY_EXTI0_Pin|LSM6DSL_INT1_EXTI11_Pin|ARD_D2_Pin|HTS221_DRDY_EXTI15_Pin
                          |PMOD_IRQ_EXTI12_Pin;
  GPIO_InitStruct.Mode = GPIO_MODE_IT_RISING;
  GPIO_InitStruct.Pull = GPIO_NOPULL;
  HAL_GPIO_Init(GPIOD, &GPIO_InitStruct);

  /*Configure GPIO pins : USB_OTG_FS_PWR_EN_Pin SPBTLE_RF_SPI3_CSN_Pin PMOD_RESET_Pin STSAFE_A100_RESET_Pin */
  GPIO_InitStruct.Pin = USB_OTG_FS_PWR_EN_Pin|SPBTLE_RF_SPI3_CSN_Pin|PMOD_RESET_Pin|STSAFE_A100_RESET_Pin;
  GPIO_InitStruct.Mode = GPIO_MODE_OUTPUT_PP;
  GPIO_InitStruct.Pull = GPIO_NOPULL;
  GPIO_InitStruct.Speed = GPIO_SPEED_FREQ_LOW;
  HAL_GPIO_Init(GPIOD, &GPIO_InitStruct);

  /*Configure GPIO pins : VL53L0X_XSHUT_Pin LED3_WIFI__LED4_BLE_Pin */
  GPIO_InitStruct.Pin = VL53L0X_XSHUT_Pin|LED3_WIFI__LED4_BLE_Pin;
  GPIO_InitStruct.Mode = GPIO_MODE_OUTPUT_PP;
  GPIO_InitStruct.Pull = GPIO_NOPULL;
  GPIO_InitStruct.Speed = GPIO_SPEED_FREQ_LOW;
  HAL_GPIO_Init(GPIOC, &GPIO_InitStruct);

  /*Configure GPIO pins : VL53L0X_GPIO1_EXTI7_Pin LSM3MDL_DRDY_EXTI8_Pin */
  GPIO_InitStruct.Pin = VL53L0X_GPIO1_EXTI7_Pin|LSM3MDL_DRDY_EXTI8_Pin;
  GPIO_InitStruct.Mode = GPIO_MODE_IT_RISING;
  GPIO_InitStruct.Pull = GPIO_NOPULL;
  HAL_GPIO_Init(GPIOC, &GPIO_InitStruct);

  /*Configure GPIO pin : PMOD_SPI2_SCK_Pin */
  GPIO_InitStruct.Pin = PMOD_SPI2_SCK_Pin;
  GPIO_InitStruct.Mode = GPIO_MODE_AF_PP;
  GPIO_InitStruct.Pull = GPIO_NOPULL;
  GPIO_InitStruct.Speed = GPIO_SPEED_FREQ_VERY_HIGH;
  GPIO_InitStruct.Alternate = GPIO_AF5_SPI2;
  HAL_GPIO_Init(PMOD_SPI2_SCK_GPIO_Port, &GPIO_InitStruct);

  /*Configure GPIO pins : PMOD_UART2_CTS_Pin PMOD_UART2_RTS_Pin PMOD_UART2_TX_Pin PMOD_UART2_RX_Pin */
  GPIO_InitStruct.Pin = PMOD_UART2_CTS_Pin|PMOD_UART2_RTS_Pin|PMOD_UART2_TX_Pin|PMOD_UART2_RX_Pin;
  GPIO_InitStruct.Mode = GPIO_MODE_AF_PP;
  GPIO_InitStruct.Pull = GPIO_NOPULL;
  GPIO_InitStruct.Speed = GPIO_SPEED_FREQ_VERY_HIGH;
  GPIO_InitStruct.Alternate = GPIO_AF7_USART2;
  HAL_GPIO_Init(GPIOD, &GPIO_InitStruct);

  /*Configure GPIO pins : ARD_D15_Pin ARD_D14_Pin */
  GPIO_InitStruct.Pin = ARD_D15_Pin|ARD_D14_Pin;
  GPIO_InitStruct.Mode = GPIO_MODE_AF_OD;
  GPIO_InitStruct.Pull = GPIO_NOPULL;
  GPIO_InitStruct.Speed = GPIO_SPEED_FREQ_VERY_HIGH;
  GPIO_InitStruct.Alternate = GPIO_AF4_I2C1;
  HAL_GPIO_Init(GPIOB, &GPIO_InitStruct);

  /*Configure GPIO pin : PE0 */
  GPIO_InitStruct.Pin = GPIO_PIN_0;
  GPIO_InitStruct.Mode = GPIO_MODE_AF_PP;
  GPIO_InitStruct.Pull = GPIO_NOPULL;
  GPIO_InitStruct.Speed = GPIO_SPEED_FREQ_LOW;
  GPIO_InitStruct.Alternate = GPIO_AF14_TIM16;
  HAL_GPIO_Init(GPIOE, &GPIO_InitStruct);

  /* EXTI interrupt init*/
  HAL_NVIC_SetPriority(EXTI9_5_IRQn, 5, 0);
  HAL_NVIC_EnableIRQ(EXTI9_5_IRQn);

  HAL_NVIC_SetPriority(EXTI15_10_IRQn, 5, 0);
  HAL_NVIC_EnableIRQ(EXTI15_10_IRQn);

}

/* USER CODE BEGIN 4 */
const char *StateName(StateMachineState s)//leaadd
{
    switch (s) {
        case IDLE:           return "IDLE";
        case STUDYING:       return "STUDYING";
        case PAUSE:          return "PAUSE";
        case BREAK:          return "BREAK";
        case FOCUS_REMINDER: return "FOCUS REMINDER";
        default:             return "UNKNOWN";
    }
}
void HandlePhoneCommand(char *cmd, char *reply, size_t replyLen)//leaadd
{
    int study, brk;

    /* 1. Check the format: "SET <study> <break>" */
    if (sscanf(cmd, "SET %d %d", &study, &brk) != 2) {
        snprintf(reply, replyLen, "ERROR: please send SET <study> <break>\r\n");
        return;
    }

    /* 2. Check the range */
    if (study < 1 || study > 60 || brk < 1 || brk > 30) {
        snprintf(reply, replyLen, "ERROR: study 1-60 min, break 1-30 min\r\n");
        return;
    }

    /* 3. Only allowed in IDLE (read shared state with the mutex) */
    StateMachineState state;
    xSemaphoreTake(xStatusMutex, portMAX_DELAY);
    state = currentState;
    xSemaphoreGive(xStatusMutex);
    if (state != IDLE) {
        snprintf(reply, replyLen, "ERROR: please set time in IDLE\r\n");
        return;
    }

    /* 4. Send SET_TIME event to the state machine */
    Event evt = { .type = EVT_CMD_SET_TIME, .value1 = study, .value2 = brk };
    if (xQueueSend(xEventQueue, &evt, 0) == pdTRUE) {
        snprintf(reply, replyLen, "OK: study %d min, break %d min\r\n", study, brk);
    } else {
        snprintf(reply, replyLen, "ERROR: busy, try again\r\n");
    }
}
void WiFiTask(void *pvParameters)//leaadd
{
    printf("WiFi task started\r\n");

    /* 1. Init Wi-Fi module */
    if (WIFI_Init() != WIFI_STATUS_OK) {
        printf("Wi-Fi init FAILED\r\n");
        vTaskDelete(NULL);   // stop this task, other tasks keep running
    }

    /* 2. Connect to phone hotspot (retry up to 5 times) */
    int tries = 0;
    while (WIFI_Connect(WIFI_SSID, WIFI_PASSWORD, WIFI_ECN_WPA2_PSK) != WIFI_STATUS_OK) {
        tries++;
        printf("Wi-Fi connect failed, retry %d\r\n", tries);
        if (tries >= 5) {
            printf("Wi-Fi connect FAILED, give up\r\n");
            vTaskDelete(NULL);
        }
        vTaskDelay(pdMS_TO_TICKS(2000));   // wait 2 s, then try again
    }

    uint8_t ip[4];
    WIFI_GetIP_Address(ip, sizeof(ip));
    printf("Wi-Fi connected, IP: %d.%d.%d.%d\r\n", ip[0], ip[1], ip[2], ip[3]);
    /* 3. Connect to the TCP server on the phone (retry) */
    printf("Connecting to %d.%d.%d.%d:%d ...\r\n",
           RemoteIP[0], RemoteIP[1], RemoteIP[2], RemoteIP[3], REMOTE_PORT);
    tries = 0;
    while (WIFI_OpenClientConnection(0, WIFI_TCP_PROTOCOL, "TCP_CLIENT",
                                     RemoteIP, REMOTE_PORT, 0) != WIFI_STATUS_OK) {
        tries++;
        printf("TCP connect failed, retry %d\r\n", tries);
        if (tries >= 10) {
            printf("TCP connect FAILED, give up\r\n");
            vTaskDelete(NULL);
        }
        WIFI_CloseClientConnection(0);
        vTaskDelay(pdMS_TO_TICKS(2000));
    }
    wifiSocket = 0;
    printf("TCP connected\r\n");

    /* 4. Say hello to the phone */
    char hello[] = "Pomodoro timer connected!\r\n";
    uint16_t sentLen;
   // WIFI_SendData(wifiSocket, (uint8_t *)hello, strlen(hello), &sentLen, WIFI_WRITE_TIMEOUT);
    if (WIFI_SendData(wifiSocket, (uint8_t *)hello, strlen(hello), &sentLen, WIFI_WRITE_TIMEOUT) == WIFI_STATUS_OK) {
        printf("Sent to phone: %s", hello);
    } else {
        printf("Send to phone FAILED\r\n");
    }
    printf("WiFi task free stack: %u words\r\n", (unsigned)uxTaskGetStackHighWaterMark(NULL));
    /* 5. Main loop: receive commands from the phone */
    static uint8_t rxData[128];
    uint16_t rxLen;
    char reply[80];
    StateMachineState lastState = IDLE;   // the state we sent last time
    for (;;) {
        if (WIFI_ReceiveData(wifiSocket, rxData, sizeof(rxData) - 1, &rxLen, WIFI_READ_TIMEOUT) == WIFI_STATUS_OK
            && rxLen > 0) {
            rxData[rxLen] = 0;                      // end the string
            printf("Received: %s\r\n", rxData);
            HandlePhoneCommand((char *)rxData, reply, sizeof(reply));
            WIFI_SendData(wifiSocket, (uint8_t *)reply, strlen(reply), &sentLen, WIFI_WRITE_TIMEOUT);
            printf("Sent: %s", reply);
        }

        /* 6. Send state changes to the phone */
        StateMachineState nowState;
        xSemaphoreTake(xStatusMutex, portMAX_DELAY);
        nowState = currentState;
        xSemaphoreGive(xStatusMutex);

        if (nowState != lastState) {
            char msg[48];
            snprintf(msg, sizeof(msg), "STATE: %s\r\n", StateName(nowState));
            WIFI_SendData(wifiSocket, (uint8_t *)msg, strlen(msg), &sentLen, WIFI_WRITE_TIMEOUT);
            printf("Sent: %s", msg);
            lastState = nowState;
        }

        vTaskDelay(pdMS_TO_TICKS(100));             // let other tasks run
    }
}
void UpdateLED(StateMachineState state){
    static uint32_t ledBrightness = 0;
    static int32_t breathingBrightness = 0;
    static int8_t breathingDirection = 1;
    static uint32_t blinkCounter = 0;

    if (state == IDLE)ledBrightness = 0;
    else if (state == STUDYING) ledBrightness = PWM_MAX_DUTY;
    else if (state == PAUSE) ledBrightness = 0;
    else if (state == BREAK){
    	breathingBrightness += breathingDirection * 500;

    	    if (breathingBrightness >= PWM_MAX_DUTY){
    	        breathingBrightness = PWM_MAX_DUTY;
    	        breathingDirection = -1;
    	    }
    	    else if (breathingBrightness <= 0){
    	        breathingBrightness = 0;
    	        breathingDirection = 1;
    	    }

    	    // Apply breathing brightness
    	    ledBrightness = breathingBrightness;
    }
    else if (state == FOCUS_REMINDER){
        blinkCounter++;
        // Toggle LED once the configured blink interval is reached
        if ((blinkCounter * PWM_UPDATE_MS) >= BLINK_INTERVAL_MS){
            blinkCounter = 0;
            ledBrightness = (ledBrightness == 0) ? PWM_MAX_DUTY : 0;
        }
    }
    else{
        ledBrightness = 0;
    }

    __HAL_TIM_SET_COMPARE(&htim15, TIM_CHANNEL_1, ledBrightness);
}

uint32_t EventToFlag(Event *evt)//leaadd
{
    switch (evt->type){
   //     case EVT_CMD_START:
   //     case EVT_CMD_PAUSE:
    //    case EVT_CMD_RESUME:     return SHORT_PRESS_FLAG;   // same as short press
    //    case EVT_CMD_RESET:      return LONG_PRESS_FLAG;    // same as long press
        case EVT_PHONE_PLACED:   return PHONE_PLACED_FLAG;
        case EVT_PHONE_REMOVED:  return PHONE_REMOVED_FLAG;
        case EVT_CHEAT_DETECTED: return CHEAT_FLAG;
        default:                 return 0;
    }
}
void HandleSetTime(Event *evt)//leaadd
{
    if (xSemaphoreTake(xStatusMutex, portMAX_DELAY) == pdTRUE){
        if (currentState == IDLE){
            studyTimeMs = evt->value1 * 60UL * 1000UL;   // minutes -> ms
            breakTimeMs = evt->value2 * 60UL * 1000UL;   // minutes -> ms
            printf("SET_TIME: study %d min, break %d min\r\n", evt->value1, evt->value2);
        } else {
            printf("SET_TIME ignored: only allowed in IDLE\r\n");
        }
        xSemaphoreGive(xStatusMutex);
    }
}

void StateMachineTask(void *pvParameters)
{
    uint32_t event;
    printf("SM task started\r\n");    //
    for (;;){
    	//if (xTaskNotifyWait(0, UINT32_MAX, &event, 0) == pdTRUE){
    	Event evt;
    	BaseType_t gotEvent = xTaskNotifyWait(0, UINT32_MAX, &event, 0);
    	// If there is no notification, check the queue
    	/*
    	if (gotEvent != pdTRUE && xQueueReceive(xEventQueue, &evt, 0) == pdTRUE){
    	    event = EventToFlag(&evt);
    	    gotEvent = pdTRUE;
    	}*/
    	if (gotEvent != pdTRUE && xQueueReceive(xEventQueue, &evt, 0) == pdTRUE){ //leaadd
    	    if (evt.type == EVT_CMD_SET_TIME){
    	        HandleSetTime(&evt);          // SET_TIME: change durations
    	    } else {
    	        event = EventToFlag(&evt);    // other events: turn into a flag
    	        gotEvent = pdTRUE;
    	    }
    	}

    	if (gotEvent == pdTRUE){

        	if (xSemaphoreTake(xStatusMutex, portMAX_DELAY) == pdTRUE){
				if (currentState == IDLE){
					if (event & SHORT_PRESS_FLAG){
						currentState = STUDYING;
						remainingStudyTime = pdMS_TO_TICKS(studyTimeMs);
						xTimerChangePeriod(xStudyTimer, remainingStudyTime, 0);
					}
				}
				else if (currentState == STUDYING){
					if (event & SHORT_PRESS_FLAG){
						remainingStudyTime = xTimerGetExpiryTime(xStudyTimer) - xTaskGetTickCount();
						xTimerStop(xStudyTimer, 0);
						currentState = PAUSE;
					}
					else if (event & LONG_PRESS_FLAG){
						xTimerStop(xStudyTimer, 0);
						currentState = IDLE;
					}
					else if (event & STUDY_TIMER_FLAG){
						xTimerChangePeriod(xBreakTimer, pdMS_TO_TICKS(breakTimeMs), 0);
						currentState = BREAK;

					}
				}
				else if (currentState == PAUSE){
					if (event & SHORT_PRESS_FLAG){
						xTimerChangePeriod(xStudyTimer, remainingStudyTime, 0);
						currentState = STUDYING;
					}
					else if (event & LONG_PRESS_FLAG){
						xTimerStop(xStudyTimer, 0);
						currentState = IDLE;
					}
				}
				else if (currentState == BREAK){
					if (event & LONG_PRESS_FLAG){
						xTimerStop(xBreakTimer, 0);
						currentState = IDLE;
					}
					else if (event & BREAK_TIMER_FLAG){
						currentState = IDLE;
						printf("CONGRATS ON A CYCLE\r\n");
					}
				}
				else if (currentState == FOCUS_REMINDER){
					if (event & LONG_PRESS_FLAG){
						currentState = IDLE;
					}
				}
				// Print the NEW state
				if (currentState == IDLE) printf("STATE: IDLE\r\n");
				else if (currentState == STUDYING) printf("STATE: STUDYING\r\n");
				else if (currentState == PAUSE) printf("STATE: PAUSE\r\n");
				else if (currentState == BREAK) printf("STATE: BREAK\r\n");
				else if (currentState == FOCUS_REMINDER) printf("STATE: FOCUS REMINDER\r\n");
				xSemaphoreGive(xStatusMutex);
			}
    	}
    	UpdateLED(currentState);
    	vTaskDelay(pdMS_TO_TICKS(PWM_UPDATE_MS));
    }
}

void ButtonTask(void *pvParameters)
{
    uint32_t notification;
    TickType_t startTime;

    for (;;){
        // Wait for button press notification
        if (xTaskNotifyWait(0, UINT32_MAX, &notification, portMAX_DELAY) == pdTRUE){
            // Record press start time
            startTime = xTaskGetTickCount();

            // Wait until button is released
            while (HAL_GPIO_ReadPin(BUTTON_EXTI13_GPIO_Port, BUTTON_EXTI13_Pin) == GPIO_PIN_RESET){
                vTaskDelay(pdMS_TO_TICKS(1));
            }

            // Determine press type
            notification = ((xTaskGetTickCount() - startTime) >= pdMS_TO_TICKS(LONG_PRESS_MS))
            ? LONG_PRESS_FLAG : SHORT_PRESS_FLAG;

            // TEST ONLY: long press sends a fake SET_TIME (1 min study, 1 min break)
         //   if (notification == LONG_PRESS_FLAG){//leaadd
         //       Event evt = { .type = EVT_CMD_SET_TIME, .value1 = 1, .value2 = 1 };
         //       xQueueSend(xEventQueue, &evt, 0);
        //    }

            // Notify state machine
            xTaskNotify(xStateTaskHandle, notification, eSetBits);

             // tested queue could work
           // Event evt = { .type = (notification == SHORT_PRESS_FLAG) ? EVT_CMD_START : EVT_CMD_RESET };
           // xQueueSend(xEventQueue, &evt, 0);//testleaadd
        }
    }
}
void StudyTimerCallback(TimerHandle_t xTimer){
    xTaskNotify(xStateTaskHandle, STUDY_TIMER_FLAG, eSetBits);
}

void BreakTimerCallback(TimerHandle_t xTimer){
    xTaskNotify(xStateTaskHandle, BREAK_TIMER_FLAG, eSetBits);
}

void HAL_GPIO_EXTI_Callback(uint16_t GPIO_Pin) {
	BaseType_t xHigherPriorityTaskWoken = pdFALSE;
	if (GPIO_Pin == GPIO_PIN_13) {
		xTaskNotifyFromISR(xButtonTaskHandle, 1, eSetBits, &xHigherPriorityTaskWoken);
		// if a higher priority task is waiting, context switch to it
		portYIELD_FROM_ISR(xHigherPriorityTaskWoken);
	}
	else if (GPIO_Pin == GPIO_PIN_1) {   // leaadd: Wi-Fi module DRDY pin (PE1)
			SPI_WIFI_ISR();
		}

}
/* USER CODE END 4 */

//void StartDefaultTask(void *argument)
//{
//  /* USER CODE BEGIN 5 */
////////  /* Infinite loop */
////////  for(;;)
////////  {
////////    osDelay(1);
////////  }
//  /* USER CODE END 5 */
//}

void HAL_TIM_PeriodElapsedCallback(TIM_HandleTypeDef *htim)
{
  if (htim->Instance == TIM6)
  {
    HAL_IncTick();
  }
}

void Error_Handler(void)
{
  __disable_irq();
  while (1)
  {
  }
}
